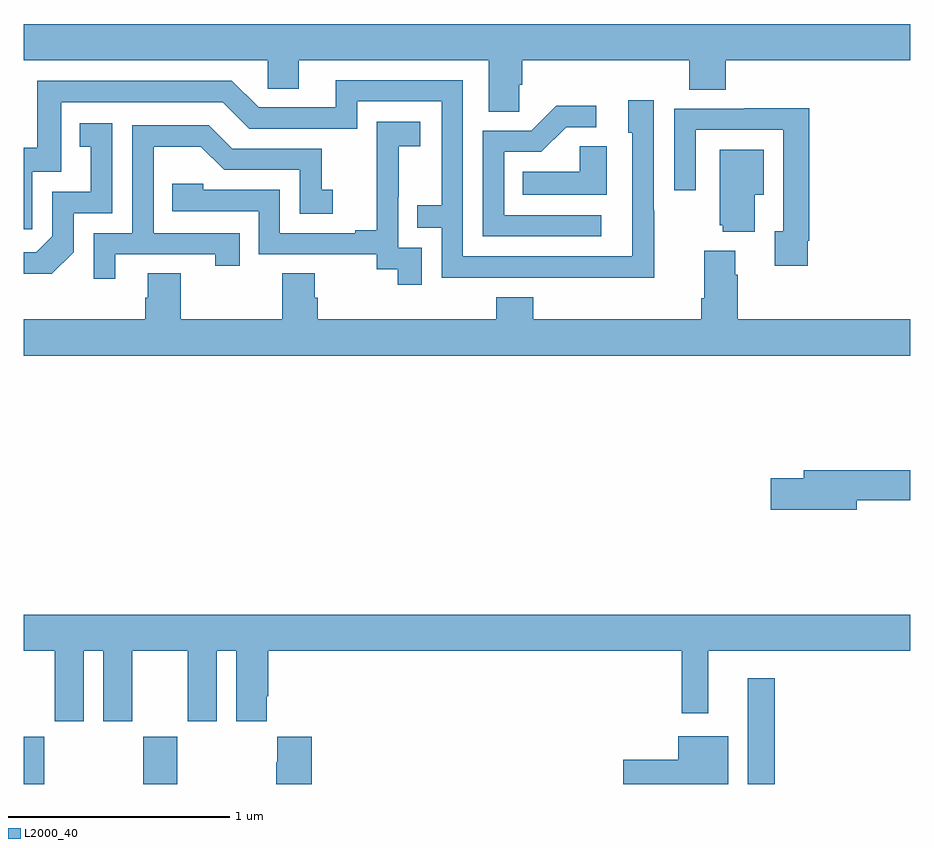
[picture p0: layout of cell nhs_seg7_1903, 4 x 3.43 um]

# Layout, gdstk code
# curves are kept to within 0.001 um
import gdstk
lib = gdstk.Library(unit=1e-6, precision=1e-09)
def R(c, l, rs):  # rectangles x0, y0, x1, y1
    for r in rs: c.add(gdstk.rectangle(r[:2], r[2:], *l))
def P(c, l, *ps):  # polygons
    for p in ps: c.add(gdstk.Polygon(p, *l))
L2000_40 = (2000, 40)

nhs_seg7_1903 = lib.new_cell('nhs_seg7_1903')
R(nhs_seg7_1903, L2000_40, [(239,1016,239.094,1016.212), (239.539,1016,239.694,1016.212), (242.267,1016,242.389,1016.476)])
P(nhs_seg7_1903, L2000_40, [(241.236,1019.155),(241.25,1019.155),(241.25,1019.264),(242.003,1019.264),(242.003,1019.131),(242.168,1019.131),(242.168,1019.264),(243,1019.264),(243,1019.428),(239,1019.428),(239,1019.264),(240.102,1019.264),(240.102,1019.137),(240.241,1019.137),(240.241,1019.264),(241.097,1019.264),(241.097,1019.032),(241.236,1019.032)],
  [(241.845,1018.589),(241.842,1018.589),(241.842,1019.083),(241.727,1019.083),(241.727,1018.938),(241.746,1018.938),(241.746,1018.38),(240.981,1018.38),(240.981,1019.175),(240.407,1019.175),(240.407,1019.052),(240.06,1019.052),(239.94,1019.172),(239.061,1019.172),(239.061,1018.87),(239,1018.87),(239,1018.503),(239.04,1018.503),(239.04,1018.761),(239.169,1018.761),(239.169,1019.076),(239.898,1019.076),(240.018,1018.956),(240.504,1018.956),(240.504,1019.079),(240.885,1019.079),(240.885,1018.61),(240.775,1018.61),(240.775,1018.509),(240.885,1018.509),(240.885,1018.284),(241.845,1018.283)],
  [(241.606,1018.566),(241.167,1018.566),(241.167,1018.851),(241.336,1018.851),(241.447,1018.962),(241.582,1018.962),(241.582,1019.06),(241.403,1019.06),(241.29,1018.947),(241.071,1018.947),(241.071,1018.47),(241.606,1018.47)],
  [(242.536,1018.45),(242.543,1018.45),(242.543,1019.048),(242.251,1019.048),(242.251,1019.046),(241.935,1019.046),(241.935,1018.677),(242.031,1018.677),(242.031,1018.95),(242.427,1018.95),(242.427,1018.494),(242.387,1018.494),(242.387,1018.338),(242.536,1018.338)],
  [(240.795,1018.419),(240.69,1018.419),(240.69,1018.649),(240.692,1018.649),(240.692,1018.877),(240.79,1018.877),(240.79,1018.987),(240.592,1018.987),(240.592,1018.781),(240.593,1018.781),(240.593,1018.498),(240.497,1018.498),(240.497,1018.485),(240.156,1018.485),(240.156,1018.68),(239.811,1018.68),(239.811,1018.707),(239.671,1018.707),(239.671,1018.584),(240.06,1018.584),(240.06,1018.389),(240.594,1018.389),(240.594,1018.321),(240.687,1018.321),(240.687,1018.251),(240.795,1018.251)],
  [(239.226,1018.398),(239.226,1018.575),(239.4,1018.575),(239.4,1018.981),(239.254,1018.981),(239.254,1018.875),(239.303,1018.875),(239.303,1018.671),(239.13,1018.671),(239.13,1018.47),(239.058,1018.398),(239,1018.398),(239,1018.301),(239.128,1018.301)],
  [(239.413,1018.389),(239.864,1018.389),(239.864,1018.338),(239.975,1018.338),(239.975,1018.485),(239.586,1018.485),(239.586,1018.874),(239.8,1018.874),(239.904,1018.77),(240.246,1018.77),(240.246,1018.572),(240.394,1018.572),(240.394,1018.681),(240.345,1018.681),(240.345,1018.866),(239.941,1018.866),(239.836,1018.971),(239.49,1018.971),(239.49,1018.485),(239.316,1018.485),(239.316,1018.278),(239.413,1018.278)],
  [(241.63,1018.877),(241.509,1018.877),(241.509,1018.762),(241.252,1018.762),(241.252,1018.658),(241.63,1018.658)],
  [(242.299,1018.658),(242.338,1018.658),(242.338,1018.861),(242.141,1018.861),(242.141,1018.521),(242.153,1018.521),(242.153,1018.49),(242.299,1018.49)],
  [(243,1018.096),(242.222,1018.096),(242.222,1018.298),(242.209,1018.298),(242.209,1018.405),(242.069,1018.405),(242.069,1018.192),(242.057,1018.192),(242.057,1018.096),(241.298,1018.096),(241.298,1018.195),(241.133,1018.195),(241.133,1018.096),(240.326,1018.096),(240.326,1018.194),(240.313,1018.194),(240.313,1018.304),(240.166,1018.304),(240.166,1018.096),(239.709,1018.096),(239.709,1018.304),(239.561,1018.304),(239.561,1018.194),(239.549,1018.194),(239.549,1018.096),(239,1018.096),(239,1017.932),(243,1017.932)],
  [(242.758,1017.28),(243,1017.28),(243,1017.416),(242.519,1017.416),(242.519,1017.38),(242.37,1017.38),(242.37,1017.238),(242.758,1017.238)],
  [(239.272,1016.6),(239.36,1016.6),(239.36,1016.283),(239.491,1016.283),(239.491,1016.6),(239.741,1016.6),(239.741,1016.283),(239.872,1016.283),(239.872,1016.6),(239.96,1016.6),(239.96,1016.283),(240.097,1016.283),(240.097,1016.395),(240.104,1016.395),(240.104,1016.6),(241.968,1016.6),(241.968,1016.319),(242.089,1016.319),(242.089,1016.6),(243,1016.6),(243,1016.764),(239,1016.764),(239,1016.6),(239.141,1016.6),(239.141,1016.283),(239.272,1016.283)],
  [(242.179,1016.215),(241.952,1016.215),(241.952,1016.109),(241.704,1016.109),(241.704,1016),(242.179,1016)],
  [(240.299,1016.212),(240.143,1016.212),(240.143,1016.099),(240.139,1016.099),(240.139,1016),(240.299,1016)])

lib.write_gds('nhs_seg7_1903.gds')
